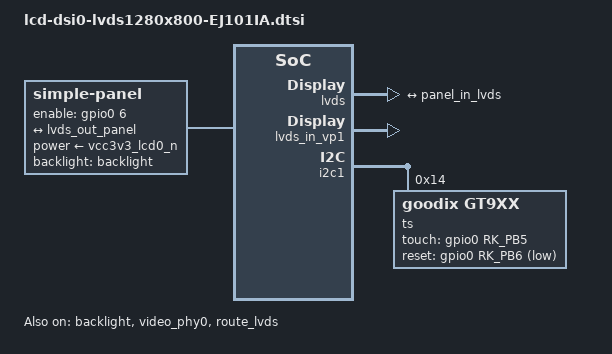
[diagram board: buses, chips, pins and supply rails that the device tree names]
/*
 * Copyright (C) 2021 9tripod, Inc.
 * arch/arm64/boot/dts/lcd-dsi0-lvds1280x800-EJ101IA.dtsi
 * lcd model: EJ101IA
 * resolution: 1280x800
 * channel: lvds
 */

#include <dt-bindings/display/media-bus-format.h>

/ {
	panel {
		compatible = "simple-panel";
		backlight = <&backlight>;
		power-supply = <&vcc3v3_lcd0_n>;
		enable-gpios = <&gpio0 6 GPIO_ACTIVE_HIGH>;//gpio0_a6
		enable-delay-ms = <120>;
		prepare-delay-ms = <120>;
		unprepare-delay-ms = <120>;
		disable-delay-ms = <120>;
		bus-format = <MEDIA_BUS_FMT_RGB888_1X7X4_SPWG>;
		width-mm = <217>;
		height-mm = <136>;

		display-timings {
		native-mode = <&timing0>;
		timing0: timing0 {
			clock-frequency = <68000000>;
			hactive = <1280>;
			vactive = <800>;
			hback-porch = <75>;
			hfront-porch = <75>;
			vback-porch = <10>;
			vfront-porch = <10>;
			hsync-len = <10>;
			vsync-len = <3>;
			hsync-active = <0>;
			vsync-active = <0>;
			de-active = <0>;
			pixelclk-active = <1>;
			swap-rb = <0>;
			swap-rg = <0>;
			swap-gb = <0>;
		};
	};

		ports {
			#address-cells = <1>;
			#size-cells = <0>;

			port@0 {
				reg = <0>;
				dual-lvds-even-pixels;
				panel_in_lvds: endpoint {
					remote-endpoint = <&lvds_out_panel>;
				};
			};
		};
	};
};

&lvds {
	status = "okay";

	ports {
		port@1 {
			reg = <1>;

			lvds_out_panel: endpoint {
				remote-endpoint = <&panel_in_lvds>;
			};
		};
	};
};

&backlight {
	status = "okay";
	//enable-gpios = <&gpio0 RK_PC1 GPIO_ACTIVE_HIGH>;
};

&video_phy0 {
	status = "okay";
};

&lvds_in_vp1 {
	status = "okay";
};

&lvds_in_vp2 {
	status = "disabled";
};

&route_lvds {
	status = "okay";
	connect = <&vp1_out_lvds>;
};

&dsi0 {
	status = "disabled";
};

&route_dsi0 {
	status = "disabled";
};

&dsi0_in_vp0 {
	status = "disabled";
};

&dsi0_in_vp1 {
	status = "disabled";
};

&i2c1 {
	status = "okay";
	
	ts@14 {
		status = "okay";
		compatible = "goodix,gt9xx";
		reg = <0x14>;
		touch-gpio = <&gpio0 RK_PB5 IRQ_TYPE_EDGE_RISING>;
		reset-gpio = <&gpio0 RK_PB6 GPIO_ACTIVE_LOW>;
		max-x = <1280>;
		max-y = <800>;
		//tp-size = <911>;
	};	
};

